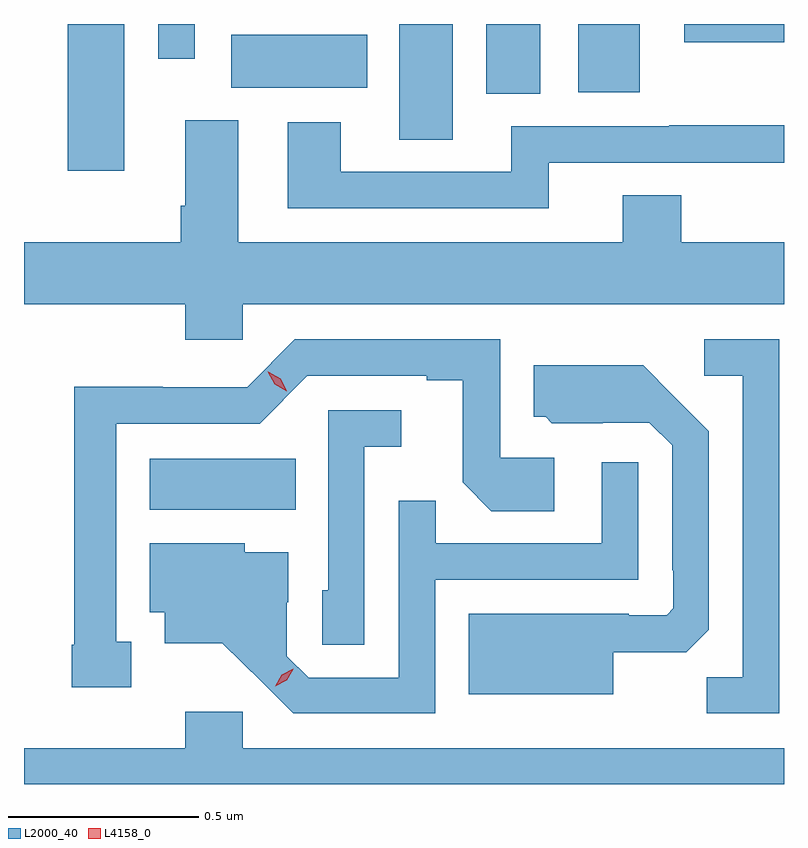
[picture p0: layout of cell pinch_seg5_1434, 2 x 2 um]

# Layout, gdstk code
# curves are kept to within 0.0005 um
import gdstk
lib = gdstk.Library(unit=1e-6, precision=1e-09)
def R(c, l, rs):  # rectangles x0, y0, x1, y1
    for r in rs: c.add(gdstk.rectangle(r[:2], r[2:], *l))
def P(c, l, *ps):  # polygons
    for p in ps: c.add(gdstk.Polygon(p, *l))
L2000_40 = (2000, 40)
L4158_0 = (4158, 0)

pinch_seg5_1434 = lib.new_cell('pinch_seg5_1434')
R(pinch_seg5_1434, L2000_40, [(167.786,898.844,168.17,898.978), (167.57,899.736,167.719,900.122), (168.443,899.818,168.583,900.122), (168.671,899.938,168.814,900.122), (168.914,899.942,169.075,900.122), (168,899.954,168.358,900.094), (167.808,900.03,167.904,900.122), (169.193,900.074,169.455,900.122)])
P(pinch_seg5_1434, L2000_40, [(168.03,899.384),(169.455,899.384),(169.455,899.548),(169.184,899.548),(169.184,899.672),(169.031,899.672),(169.031,899.548),(168.019,899.548),(168.019,899.869),(167.879,899.869),(167.879,899.644),(167.867,899.644),(167.867,899.548),(167.455,899.548),(167.455,899.384),(167.879,899.384),(167.879,899.291),(168.03,899.291)],
  [(168.836,899.757),(169.455,899.757),(169.455,899.856),(169.153,899.856),(169.153,899.853),(168.737,899.853),(168.737,899.733),(168.289,899.733),(168.289,899.863),(168.149,899.863),(168.149,899.637),(168.836,899.637)],
  [(167.737,898.497),(167.698,898.497),(167.698,899.07),(168.075,899.07),(168.201,899.196),(168.515,899.196),(168.515,899.184),(168.609,899.184),(168.609,898.916),(168.685,898.84),(168.85,898.84),(168.85,898.98),(168.708,898.98),(168.708,899.292),(168.168,899.292),(168.042,899.166),(167.82,899.166),(167.82,899.168),(167.587,899.168),(167.587,898.489),(167.58,898.489),(167.58,898.377),(167.737,898.377)],
  [(169.443,899.292),(169.245,899.292),(169.245,899.196),(169.347,899.196),(169.347,898.403),(169.252,898.403),(169.252,898.308),(169.443,898.308)],
  [(169.006,898.469),(169.198,898.469),(169.257,898.528),(169.257,899.05),(169.085,899.224),(168.797,899.224),(168.797,899.088),(168.828,899.088),(168.844,899.072),(168.978,899.072),(168.978,899.073),(169.101,899.073),(169.161,899.013),(169.161,898.684),(169.164,898.684),(169.164,898.584),(169.146,898.566),(169.046,898.566),(169.046,898.57),(168.626,898.57),(168.626,898.358),(169.006,898.358)],
  [(168.351,899.009),(168.448,899.009),(168.448,899.106),(168.255,899.106),(168.255,898.632),(168.24,898.632),(168.24,898.489),(168.351,898.489)],
  [(168.537,898.659),(169.071,898.659),(169.071,898.969),(168.975,898.969),(168.975,898.755),(168.539,898.755),(168.539,898.868),(168.441,898.868),(168.441,898.401),(168.204,898.401),(168.147,898.458),(168.147,898.6),(168.151,898.6),(168.151,898.732),(168.036,898.732),(168.036,898.756),(167.786,898.756),(167.786,898.574),(167.825,898.574),(167.825,898.493),(167.977,898.493),(168.164,898.308),(168.537,898.308)],
  [(169.455,898.216),(168.03,898.216),(168.03,898.312),(167.879,898.312),(167.879,898.216),(167.455,898.216),(167.455,898.122),(169.455,898.122)])
P(pinch_seg5_1434, L4158_0, [(168.116,898.379),(168.116,898.379),(168.133,898.409),(168.164,898.425),(168.164,898.425),(168.164,898.424),(168.147,898.395),(168.116,898.379)],
  [(168.147,899.156),(168.115,899.174),(168.097,899.207),(168.097,899.207),(168.098,899.207),(168.13,899.188),(168.147,899.156),(168.147,899.156)])

lib.write_gds('pinch_seg5_1434.gds')
